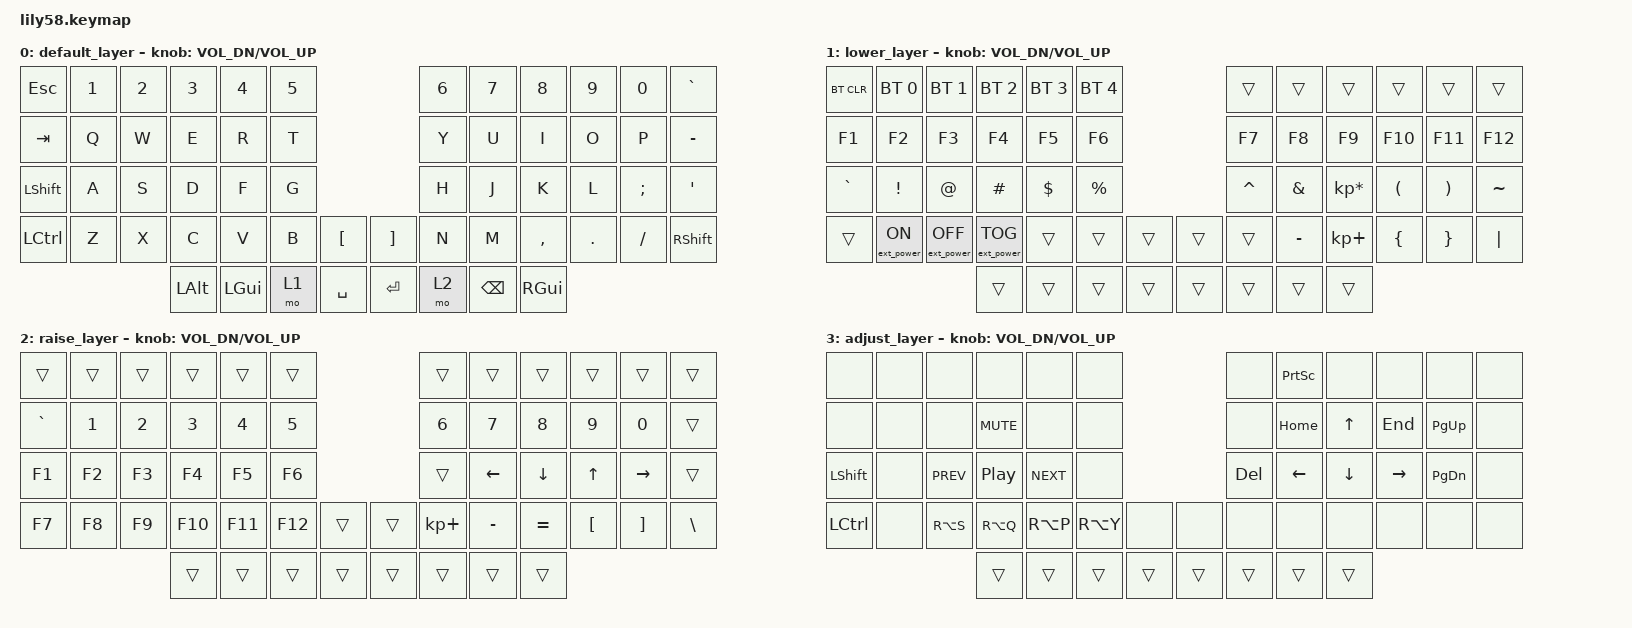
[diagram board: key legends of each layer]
/*
 * Copyright (c) 2020 The ZMK Contributors
 *
 * SPDX-License-Identifier: MIT
 */

#include <behaviors.dtsi>
#include <dt-bindings/zmk/keys.h>
#include <dt-bindings/zmk/bt.h>
#include <dt-bindings/zmk/ext_power.h>

/ {
  conditional_layers {
    compatible = "zmk,conditional-layers";
    tri_layer {
        if-layers = <1 2>;
        then-layer = <3>;
    };
  };

  behaviors {
    td0: tap_dance_0 {
      compatible = "zmk,behavior-tap-dance";
      label = "TAP_DANCE_Ä";
      #binding-cells = <0>;
      tapping-term-ms = <200>;
      bindings = <&kp SQT>, <&kp RA(Q)>;
    };

    td1: tap_dance_1 {
      compatible = "zmk,behavior-tap-dance";
      label = "TAP_DANCE_Ö";
      #binding-cells = <0>;
      tapping-term-ms = <200>;
      bindings = <&kp SEMI>, <&kp RA(P)>;
    };

    td2: tap_dance_2 {
      compatible = "zmk,behavior-tap-dance";
      label = "TAP_DANCE_Ü";
      #binding-cells = <0>;
      tapping-term-ms = <200>;
      bindings = <&kp RBKT>, <&kp RA(Y)>, <&kp K_MUTE>;
    };

    td3: tap_dance_3 {
      compatible = "zmk,behavior-tap-dance";
      label = "TAP_DANCE_ß";
      #binding-cells = <0>;
      tapping-term-ms = <200>;
      bindings = <&kp GRAVE>, <&kp RA(S)>;
    };
  };

  keymap {
    compatible = "zmk,keymap";

    default_layer {
// ------------------------------------------------------------------------------------------------------------
// |  ESC  |  1  |  2  |  3   |  4   |  5   |                   |  6   |  7    |  8    |  9   |   0   |   `   |
// |  TAB  |  Q  |  W  |  E   |  R   |  T   |                   |  Y   |  U    |  I    |  O   |   P   |   -   |
// | SHIFT |  A  |  S  |  D   |  F   |  G   |                   |  H   |  J    |  K    |  L   |   ;   |   '   |
// | CTRL  |  Z  |  X  |  C   |  V   |  B   |   "["  |  |  "]"  |  N   |  M    |  ,    |  .   |   /   | SHIFT |
//                     | ALT  | GUI  | LOWER|  SPACE |  | ENTER | RAISE| BSPC  | GUI   |
      bindings = <
&kp ESC   &kp N1 &kp N2 &kp N3   &kp N4   &kp N5                     &kp N6 &kp N7   &kp N8    &kp N9  &kp N0   &kp GRAVE
&kp TAB   &kp Q  &kp W  &kp E    &kp R    &kp T                      &kp Y  &kp U    &kp I     &kp O   &kp P    &kp MINUS
&kp LSHFT &kp A  &kp S  &kp D    &kp F    &kp G                      &kp H  &kp J    &kp K     &kp L   &kp SEMI &kp SQT
&kp LCTRL &kp Z  &kp X  &kp C    &kp V    &kp B  &kp LBKT   &kp RBKT &kp N  &kp M    &kp COMMA &kp DOT &kp FSLH &kp RSHFT
                        &kp LALT &kp LGUI &mo 1  &kp SPACE  &kp RET  &mo 2  &kp BSPC &kp RGUI
      >;

      sensor-bindings = <&inc_dec_kp C_VOL_DN C_VOL_UP>;
    };

    lower_layer {
// ------------------------------------------------------------------------------------------------------------
// | BTCLR | BT1 | BT2 |  BT3 |  BT4 |  BT5 |                   |      |       |       |      |       |       |
// |  F1   |  F2 |  F3 |  F4  |  F5  |  F6  |                   |  F7  |  F8   |  F9   |  F10 |  F11  |  F12  |
// |   `   |  !  |  @  |  #   |  $   |  %   |                   |  ^   |  &    |  *    |  (   |   )   |   ~   |
// |       |     |     |      |      |      |        |  |       |      |  _    |  +    |  {   |   }   |  "|"  |
//                     |      |      |      |        |  |       |      |       |       |
      bindings = <
&bt BT_CLR &bt BT_SEL 0     &bt BT_SEL 1      &bt BT_SEL 2      &bt BT_SEL 3 &bt BT_SEL 4                 &trans    &trans    &trans          &trans    &trans    &trans
&kp F1     &kp F2           &kp F3            &kp F4            &kp F5       &kp F6                       &kp F7    &kp F8    &kp F9          &kp F10   &kp F11   &kp F12
&kp GRAVE  &kp EXCL         &kp AT            &kp HASH          &kp DOLLAR   &kp PRCNT                    &kp CARET &kp AMPS  &kp KP_MULTIPLY &kp LPAR  &kp RPAR  &kp TILDE
&trans     &ext_power EP_ON &ext_power EP_OFF &ext_power EP_TOG &trans       &trans    &trans   &trans    &trans    &kp MINUS &kp KP_PLUS     &kp LBRC  &kp RBRC  &kp PIPE
                                              &trans            &trans       &trans    &trans   &trans    &trans    &trans    &trans
      >;

      sensor-bindings = <&inc_dec_kp C_VOL_DN C_VOL_UP>;
    };

    raise_layer {
// ------------------------------------------------------------------------------------------------------------
// |       |     |     |      |      |      |                   |      |       |       |      |       |       |
// |   `   |  1  |  2  |  3   |  4   |  5   |                   |  6   |   7   |   8   |  9   |   0   |       |
// |   F1  |  F2 |  F3 |  F4  |  F5  |  F6  |                   |      |   <-  |   v   |  ^   |  ->   |       |
// |   F7  |  F8 |  F9 |  F10 |  F11 |  F12 |        |  |       |  +   |   -   |   =   |  [   |   ]   |   \   |
//                     |      |      |      |        |  |       |      |       |       |
      bindings = <
&trans    &trans &trans &trans  &trans  &trans                       &trans      &trans    &trans    &trans   &trans    &trans
&kp GRAVE &kp N1 &kp N2 &kp N3  &kp N4  &kp N5                       &kp N6      &kp N7    &kp N8    &kp N9   &kp N0    &trans
&kp F1    &kp F2 &kp F3 &kp F4  &kp F5  &kp F6                       &trans      &kp LEFT  &kp DOWN  &kp UP   &kp RIGHT &trans
&kp F7    &kp F8 &kp F9 &kp F10 &kp F11 &kp F12   &trans   &trans    &kp KP_PLUS &kp MINUS &kp EQUAL &kp LBKT &kp RBKT  &kp BSLH
                        &trans  &trans  &trans    &trans   &trans    &trans      &trans    &trans
      >;

      sensor-bindings = <&inc_dec_kp C_VOL_DN C_VOL_UP>;
    };

    adjust_layer {
// ------------------------------------------------------------------------------------------------------------------------------------------------------
// |       |       |            |           |            |           |                      |         |         |         |         |         |         |
// |       |       |            |   Mute    |            |           |                      |         |  HOME   |    ^    |   END   |         |         |
// | SHIFT |       |  Prev      |   Play    |  Next      |           |                      |   DEL   |   <-    |    V    |   ->    |         |         |
// | CTRL  |       |    ß       |    ä      |    ö       |    ü      |         |  |         |         |         |         |         |         |         |
//                              |           |            |           |         |  |         |         |         |         |
      bindings = <
&none        &none   &none        &none       &none        &none                              &none     &kp PSCRN &none     &none     &none     &none
&none        &none   &none        &kp C_MUTE  &none        &none                              &none     &kp HOME  &kp UP    &kp END   &kp PG_UP &none
&kp LSHFT    &none   &kp C_PREV   &kp C_PP    &kp C_NEXT   &none                              &kp DEL   &kp LEFT  &kp DOWN  &kp RIGHT &kp PG_DN &none
&kp LCTRL    &none   &kp RA(S)    &kp RA(Q)   &kp RA(P)    &kp RA(Y)   &none        &none     &none     &none     &none     &none     &none     &none
                                  &trans      &trans       &trans      &trans       &trans    &trans    &trans    &trans
        >;

      sensor-bindings = <&inc_dec_kp C_VOL_DN C_VOL_UP>;
    };
  };
};
